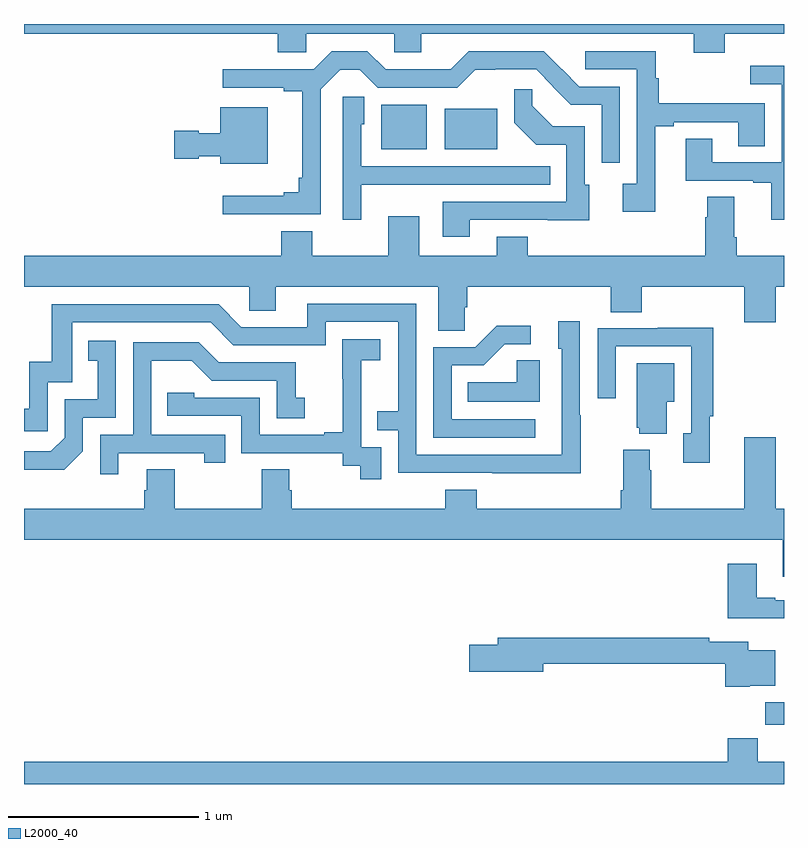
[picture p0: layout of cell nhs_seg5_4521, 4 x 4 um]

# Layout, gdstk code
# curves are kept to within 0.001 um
import gdstk
lib = gdstk.Library(unit=1e-6, precision=1e-09)
def R(c, l, rs):  # rectangles x0, y0, x1, y1
    for r in rs: c.add(gdstk.rectangle(r[:2], r[2:], *l))
def P(c, l, *ps):  # polygons
    for p in ps: c.add(gdstk.Polygon(p, *l))
L2000_40 = (2000, 40)

nhs_seg5_4521 = lib.new_cell('nhs_seg5_4521')
R(nhs_seg5_4521, L2000_40, [(380.902,865.11,381,865.228), (378.881,868.139,379.12,868.375), (379.214,868.139,379.492,868.354)])
P(nhs_seg5_4521, L2000_40, [(380.689,868.748),(381,868.748),(381,868.799),(377,868.799),(377,868.748),(378.335,868.748),(378.335,868.65),(378.486,868.65),(378.486,868.748),(378.948,868.748),(378.948,868.65),(379.09,868.65),(379.09,868.748),(380.525,868.748),(380.525,868.649),(380.689,868.649)],
  [(378.257,867.798),(378.561,867.798),(378.561,868.455),(378.665,868.559),(378.766,868.559),(378.861,868.464),(379.281,868.464),(379.376,868.559),(379.695,868.56),(379.785,868.47),(379.783,868.468),(379.877,868.374),(380.04,868.374),(380.04,868.068),(380.136,868.068),(380.136,868.47),(379.923,868.47),(379.735,868.656),(379.341,868.656),(379.247,868.562),(379.142,868.562),(379.142,868.56),(378.903,868.56),(378.807,868.656),(378.62,868.656),(378.524,868.56),(378.291,868.56),(378.291,868.562),(378.045,868.562),(378.045,868.464),(378.368,868.464),(378.368,868.444),(378.464,868.444),(378.464,867.991),(378.445,867.991),(378.445,867.914),(378.368,867.914),(378.368,867.895),(378.045,867.895),(378.045,867.797)],
  [(380.323,868.261),(380.419,868.261),(380.419,868.281),(380.759,868.281),(380.759,868.156),(380.899,868.156),(380.899,868.382),(380.342,868.382),(380.342,868.514),(380.324,868.514),(380.324,868.656),(379.953,868.656),(379.953,868.56),(380.226,868.56),(380.226,867.958),(380.151,867.958),(380.151,867.81),(380.323,867.81)],
  [(381,868.579),(380.823,868.579),(380.823,868.482),(380.988,868.482),(380.988,868.071),(380.623,868.071),(380.623,868.196),(380.483,868.196),(380.483,867.975),(380.837,867.975),(380.837,867.963),(380.933,867.963),(380.933,867.768),(381,867.768)],
  [(379.345,867.768),(379.975,867.767),(379.975,867.954),(379.95,867.954),(379.95,868.26),(379.784,868.26),(379.676,868.368),(379.676,868.456),(379.581,868.456),(379.581,868.28),(379.697,868.164),(379.854,868.164),(379.854,867.864),(379.205,867.864),(379.205,867.678),(379.345,867.678)],
  [(378.775,867.953),(379.109,867.953),(379.109,867.954),(379.769,867.954),(379.769,868.05),(378.774,868.05),(378.774,868.272),(378.79,868.272),(378.79,868.415),(378.678,868.415),(378.678,867.768),(378.775,867.768)],
  [(378.283,868.36),(378.032,868.36),(378.032,868.225),(377.919,868.225),(377.919,868.238),(377.79,868.238),(377.79,868.091),(377.919,868.091),(377.919,868.103),(378.032,868.103),(378.032,868.064),(378.283,868.064)],
  [(379.32,867.307),(379.334,867.307),(379.334,867.416),(380.087,867.416),(380.087,867.283),(380.252,867.283),(380.252,867.416),(380.792,867.416),(380.792,867.228),(380.956,867.228),(380.956,867.416),(381,867.416),(381,867.58),(380.75,867.58),(380.75,867.676),(380.737,867.676),(380.737,867.89),(380.597,867.89),(380.597,867.782),(380.585,867.782),(380.585,867.58),(379.651,867.58),(379.651,867.679),(379.487,867.679),(379.487,867.58),(379.081,867.58),(379.081,867.787),(378.917,867.787),(378.917,867.58),(378.517,867.58),(378.517,867.709),(378.353,867.709),(378.353,867.58),(377,867.58),(377,867.416),(378.186,867.416),(378.186,867.289),(378.325,867.289),(378.325,867.416),(379.181,867.416),(379.181,867.184),(379.32,867.184)],
  [(379.929,866.741),(379.926,866.741),(379.926,867.235),(379.811,867.235),(379.811,867.09),(379.83,867.09),(379.83,866.532),(379.065,866.532),(379.065,867.327),(378.491,867.327),(378.491,867.204),(378.144,867.204),(378.024,867.324),(377.145,867.324),(377.145,867.022),(377.027,867.022),(377.027,866.775),(377,866.775),(377,866.655),(377.124,866.655),(377.124,866.913),(377.253,866.913),(377.253,867.228),(377.982,867.228),(378.102,867.108),(378.588,867.108),(378.588,867.231),(378.969,867.231),(378.969,866.762),(378.859,866.762),(378.859,866.661),(378.969,866.661),(378.969,866.436),(379.929,866.435)],
  [(379.69,866.718),(379.251,866.718),(379.251,867.003),(379.42,867.003),(379.531,867.114),(379.666,867.114),(379.666,867.212),(379.487,867.212),(379.374,867.099),(379.155,867.099),(379.155,866.622),(379.69,866.622)],
  [(380.609,866.734),(380.627,866.734),(380.627,867.2),(380.335,867.2),(380.335,867.198),(380.019,867.198),(380.019,866.829),(380.115,866.829),(380.115,867.102),(380.511,867.102),(380.511,866.646),(380.471,866.646),(380.471,866.49),(380.609,866.49)],
  [(378.879,866.571),(378.774,866.571),(378.774,866.801),(378.776,866.801),(378.776,867.029),(378.874,867.029),(378.874,867.139),(378.676,867.139),(378.676,866.933),(378.677,866.933),(378.677,866.65),(378.581,866.65),(378.581,866.637),(378.24,866.637),(378.24,866.832),(377.895,866.832),(377.895,866.859),(377.755,866.859),(377.755,866.736),(378.144,866.736),(378.144,866.541),(378.678,866.541),(378.678,866.473),(378.771,866.473),(378.771,866.403),(378.879,866.403)],
  [(377.31,866.55),(377.31,866.727),(377.484,866.727),(377.484,867.133),(377.338,867.133),(377.338,867.027),(377.387,867.027),(377.387,866.823),(377.214,866.823),(377.214,866.622),(377.142,866.55),(377,866.55),(377,866.453),(377.212,866.453)],
  [(377.497,866.541),(377.948,866.541),(377.948,866.49),(378.059,866.49),(378.059,866.637),(377.67,866.637),(377.67,867.026),(377.884,867.026),(377.988,866.922),(378.33,866.922),(378.33,866.724),(378.478,866.724),(378.478,866.833),(378.429,866.833),(378.429,867.018),(378.025,867.018),(377.92,867.123),(377.574,867.123),(377.574,866.637),(377.4,866.637),(377.4,866.43),(377.497,866.43)],
  [(379.714,867.029),(379.593,867.029),(379.593,866.914),(379.336,866.914),(379.336,866.81),(379.714,866.81)],
  [(380.383,866.81),(380.422,866.81),(380.422,867.013),(380.225,867.013),(380.225,866.673),(380.237,866.673),(380.237,866.642),(380.383,866.642)],
  [(381,866.248),(380.956,866.248),(380.956,866.623),(380.792,866.623),(380.792,866.248),(380.301,866.248),(380.301,866.45),(380.293,866.45),(380.293,866.557),(380.153,866.557),(380.153,866.344),(380.141,866.344),(380.141,866.248),(379.382,866.248),(379.382,866.347),(379.217,866.347),(379.217,866.248),(378.41,866.248),(378.41,866.346),(378.397,866.346),(378.397,866.456),(378.25,866.456),(378.25,866.248),(377.793,866.248),(377.793,866.456),(377.645,866.456),(377.645,866.346),(377.633,866.346),(377.633,866.248),(377,866.248),(377,866.084),(380.993,866.084),(380.993,865.89),(381,865.89)],
  [(381,865.767),(380.953,865.767),(380.953,865.78),(380.857,865.78),(380.857,865.957),(380.705,865.957),(380.705,865.671),(381,865.671)],
  [(380.82,865.316),(380.953,865.316),(380.953,865.504),(380.812,865.504),(380.812,865.548),(380.606,865.548),(380.606,865.568),(379.493,865.568),(379.493,865.532),(379.344,865.532),(379.344,865.39),(379.732,865.39),(379.732,865.432),(380.69,865.432),(380.69,865.31),(380.82,865.31)],
  [(377,864.799),(381,864.799),(381,864.916),(380.861,864.916),(380.861,865.04),(380.705,865.04),(380.705,864.916),(377,864.916)])

lib.write_gds('nhs_seg5_4521.gds')
